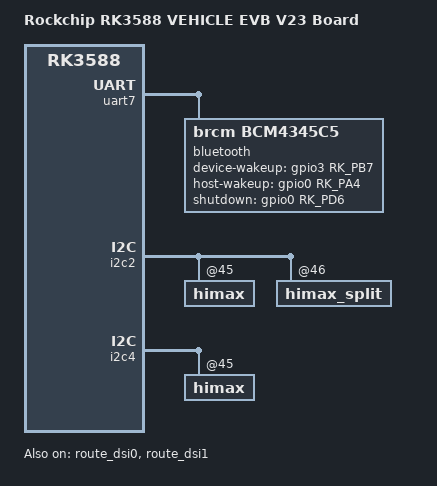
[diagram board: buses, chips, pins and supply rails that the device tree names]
// SPDX-License-Identifier: (GPL-2.0+ OR MIT)
/*
 * Copyright (c) 2025 Rockchip Electronics Co., Ltd.
 *
 */

/dts-v1/;

#include "rk3588-vehicle-evb-v23.dts"
#include "rk3588-linux.dtsi"

/ {

	model = "Rockchip RK3588 VEHICLE EVB V23 Board";
	compatible = "rockchip,rk3588-vehicle-evb-v23-linux", "rockchip,rk3588";

	reserved-memory {
		/delete-node/vendor_storage_rm;
	};

	/delete-node/vendor_storage;
};

&uart7 {
	status = "okay";
	pinctrl-names = "default";
	pinctrl-0 = <&uart7m1_xfer &uart7m1_ctsn &uart7m1_rtsn>;
	uart-has-rtscts;

	bluetooth {
		compatible = "brcm,bcm4345c5";
		clocks = <&hym8563>;
		clock-names = "txco";

		device-wakeup-gpios = <&gpio3 RK_PB7 GPIO_ACTIVE_HIGH>;
		host-wakeup-gpios = <&gpio0 RK_PA4 GPIO_ACTIVE_HIGH>;
		shutdown-gpios = <&gpio0 RK_PD6 GPIO_ACTIVE_HIGH>;
		max-speed = <1500000>;
	};
};

&vop {
	/delete-property/ support-multi-area;
};

/*dsi*/
&i2c2 {
	himax@45 {
		status = "okay";
	};

	himax_split@46 {
		status = "okay";
	};
};

/*dp0*/
&i2c4 {
	himax@45 {
		status = "okay";
	};
};

&route_dsi0 {
	status = "okay";
	connect = <&vp2_out_dsi0>;
	logo,uboot = "logo.bmp";
	logo,kernel = "logo.bmp";
};

&route_dsi1 {
	status = "okay";
	connect = <&vp3_out_dsi1>;
	logo,uboot = "logo.bmp";
	logo,kernel = "logo.bmp";
};

/delete-node/ &wireless_bluetooth;
